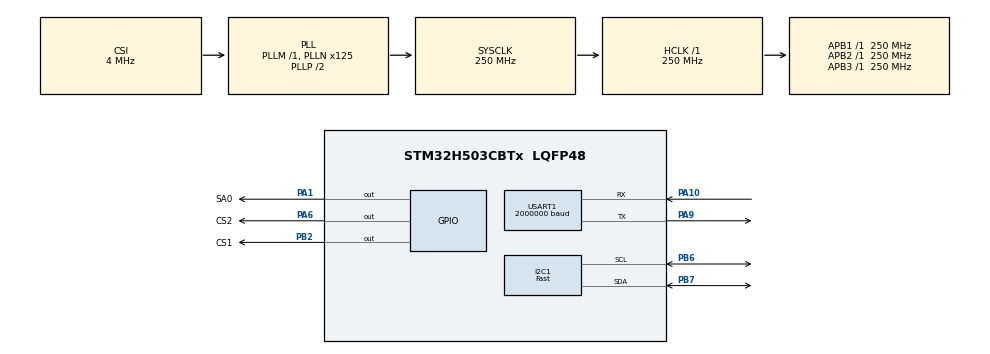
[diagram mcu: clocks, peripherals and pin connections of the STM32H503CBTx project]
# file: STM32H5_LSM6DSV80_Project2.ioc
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BOOTPATH.BootPathName=LEGACY
BOOTPATH.UserSelectedBootPath=LEGACY
I2C1.I2C_Speed_Mode=I2C_Fast
I2C1.Timing=0x10C043E5
Mcu.Family=STM32H5
Mcu.Name=STM32H503CBTx
Mcu.Package=LQFP48
NVIC.PriorityGroup=NVIC_PRIORITYGROUP_4
PA1.GPIO_Label=SA0
PA1.Signal=GPIO_Output
PA10.Mode=Asynchronous
PA10.Signal=USART1_RX
PA6.GPIO_Label=CS2
PA6.Signal=GPIO_Output
PA9.Mode=Asynchronous
PA9.Signal=USART1_TX
PB2.GPIO_Label=CS1
PB2.Signal=GPIO_Output
PB6.Mode=I2C
PB6.Signal=I2C1_SCL
PB7.Mode=I2C
PB7.Signal=I2C1_SDA
ProjectManager.HeapSize=0x2000
ProjectManager.StackSize=0x4000
ProjectManager.TargetToolchain=MDK-ARM V5.37
RCC.ADCFreq_Value=250000000
RCC.AHBFreq_Value=250000000
RCC.APB1Freq_Value=250000000
RCC.APB1TimFreq_Value=250000000
RCC.APB2Freq_Value=250000000
RCC.APB2TimFreq_Value=250000000
RCC.APB3Freq_Value=250000000
RCC.CSI_VALUE=4000000
RCC.CortexFreq_Value=250000000
RCC.EPOD_VALUE=4000000
RCC.HCLKFreq_Value=250000000
RCC.HSE_VALUE=25000000
RCC.HSI48_VALUE=48000000
RCC.HSI_VALUE=64000000
RCC.LSE_VALUE=32768
RCC.LSIRC_VALUE=32000
RCC.PLL2FRACN=0
RCC.PLLFRACN=0
RCC.PLLN=125
RCC.SYSCLKFreq_VALUE=250000000
RCC.SYSCLKSource=RCC_SYSCLKSOURCE_PLLCLK
RCC.USBFreq_Value=48000000
RCC.VCOOutputFreq_Value=500000000
USART1.BaudRate=2000000
USART1.VirtualMode-Asynchronous=VM_ASYNC
VP_BOOTPATH_VS_BOOTPATH.Mode=BP_Activate
VP_CORTEX_M33_NS_VS_Hclk.Mode=Hclk_Mode
VP_ICACHE_VS_ICACHE.Mode=DirectMappedCache
VP_MEMORYMAP_VS_MEMORYMAP.Mode=CurAppReg
VP_PWR_VS_LPOM.Mode=PowerOptimisation
VP_PWR_VS_SECSignals.Mode=Security/Privilege
board=custom

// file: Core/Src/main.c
/* USER CODE BEGIN Header */
/**
  ******************************************************************************
  * @file           : main.c
  * @brief          : Main program body
  ******************************************************************************
  * @attention
  *
  * Copyright (c) 2025 STMicroelectronics.
  * All rights reserved.
  *
  * This software is licensed under terms that can be found in the LICENSE file
  * in the root directory of this software component.
  * If no LICENSE file comes with this software, it is provided AS-IS.
  *
  ******************************************************************************
  */
/* USER CODE END Header */
#include "main.h"
#include "i2c.h"
#include "icache.h"
#include "usart.h"
#include "gpio.h"

/* USER CODE BEGIN Includes */
#include "stdio.h"

#include "lsm6dsv80x_reg.h"
#include <string.h>
/* USER CODE END Includes */

void SystemClock_Config(void);
/* USER CODE BEGIN PFP */
int fputc(int ch, FILE *f){
	HAL_UART_Transmit(&huart1 , (uint8_t *)&ch, 1, 0xFFFF);
	return ch;
}
/* USER CODE END PFP */

/* USER CODE BEGIN 0 */
#define SENSOR_BUS hi2c1

/* Private macro -------------------------------------------------------------*/
#define    BOOT_TIME            10 //ms
#define    CNT_FOR_OUTPUT       10

/* Private variables ---------------------------------------------------------*/
static int16_t data_raw_motion[3];
static int16_t data_raw_temperature;
static float_t acceleration_mg[3];
static float_t angular_rate_mdps[3];
static float_t temperature_degC;
static uint8_t whoamI;
static uint8_t tx_buffer[1000];

static lsm6dsv80x_filt_settling_mask_t filt_settling_mask;

/* Extern variables ----------------------------------------------------------*/

/* Private functions ---------------------------------------------------------*/

/*
 *   WARNING:
 *   Functions declare in this section are defined at the end of this file
 *   and are strictly related to the hardware platform used.
 *
 */
static int32_t platform_write(void *handle, uint8_t reg, const uint8_t *bufp,
                              uint16_t len);
static int32_t platform_read(void *handle, uint8_t reg, uint8_t *bufp,
                             uint16_t len);
static void tx_com( uint8_t *tx_buffer, uint16_t len );
static void platform_delay(uint32_t ms);
static void platform_init(void);

/* USER CODE END 0 */

int main(void)
{

  /* MCU Configuration--------------------------------------------------------*/

  /* Reset of all peripherals, Initializes the Flash interface and the Systick. */
  HAL_Init();

  /* Configure the system clock */
  SystemClock_Config();

  /* Initialize all configured peripherals */
  MX_GPIO_Init();
  MX_I2C1_Init();
  MX_ICACHE_Init();
  MX_USART1_UART_Init();
  /* USER CODE BEGIN 2 */
	printf("HELLO!\n");
  HAL_GPIO_WritePin(CS1_GPIO_Port, CS1_Pin, GPIO_PIN_SET);
  HAL_GPIO_WritePin(SA0_GPIO_Port, SA0_Pin, GPIO_PIN_RESET);
  HAL_GPIO_WritePin(CS2_GPIO_Port, CS2_Pin, GPIO_PIN_SET);
	HAL_Delay(100);

	lsm6dsv80x_reset_t rst;
  stmdev_ctx_t dev_ctx;
	// 累加器和计数器，用于计算均值
  double_t lowg_xl_sum[3], hg_xl_sum[3], gyro_sum[3], temp_sum;
  uint16_t lowg_xl_cnt = 0, hg_xl_cnt = 0, gyro_cnt = 0, temp_cnt = 0;

  /* Initialize mems driver interface */
  dev_ctx.write_reg = platform_write;
  dev_ctx.read_reg = platform_read;
  dev_ctx.mdelay = platform_delay;
  dev_ctx.handle = &SENSOR_BUS;
  /* Init test platform */
//  platform_init();
  /* Wait sensor boot time */
  platform_delay(BOOT_TIME);

  /* Check device ID */
  lsm6dsv80x_device_id_get(&dev_ctx, &whoamI);
	printf("LSM6DSV80X_ID=0x%x,whoamI=0x%x",LSM6DSV80X_ID,whoamI);
  if (whoamI != LSM6DSV80X_ID)
    while (1);

  /* Restore default configuration */
  lsm6dsv80x_reset_set(&dev_ctx, LSM6DSV80X_RESTORE_CTRL_REGS);
  do {
    lsm6dsv80x_reset_get(&dev_ctx, &rst);
  } while (rst != LSM6DSV80X_READY);

  /* Enable Block Data Update */
  lsm6dsv80x_block_data_update_set(&dev_ctx, PROPERTY_ENABLE);

  /* Set Output Data Rate.
   * Selected data rate have to be equal or greater with respect
   * with MLC data rate.
   */
	// 设置量程与输出数据速率
  lsm6dsv80x_xl_data_rate_set(&dev_ctx, LSM6DSV80X_ODR_AT_480Hz);
  lsm6dsv80x_hg_xl_data_rate_set(&dev_ctx, LSM6DSV80X_HG_XL_ODR_AT_480Hz, 1);
  lsm6dsv80x_gy_data_rate_set(&dev_ctx, LSM6DSV80X_ODR_AT_480Hz);

  /* Set full scale */
  lsm6dsv80x_xl_full_scale_set(&dev_ctx, LSM6DSV80X_16g);
  lsm6dsv80x_hg_xl_full_scale_set(&dev_ctx, LSM6DSV80X_80g);
  lsm6dsv80x_gy_full_scale_set(&dev_ctx, LSM6DSV80X_4000dps);

  /* Configure filtering chain */
//  filt_settling_mask.drdy = PROPERTY_ENABLE;
//  filt_settling_mask.irq_xl = PROPERTY_ENABLE;
//  filt_settling_mask.irq_g = PROPERTY_ENABLE;
//  lsm6dsv80x_filt_settling_mask_set(&dev_ctx, filt_settling_mask);
//  lsm6dsv80x_filt_gy_lp1_set(&dev_ctx, PROPERTY_ENABLE);
//  lsm6dsv80x_filt_gy_lp1_bandwidth_set(&dev_ctx, LSM6DSV80X_GY_ULTRA_LIGHT);
//  lsm6dsv80x_filt_xl_lp2_set(&dev_ctx, PROPERTY_ENABLE);
//  lsm6dsv80x_filt_xl_lp2_bandwidth_set(&dev_ctx, LSM6DSV80X_XL_STRONG);

  lowg_xl_sum[0] = lowg_xl_sum[1] = lowg_xl_sum[2] = 0.0;
  hg_xl_sum[0] = hg_xl_sum[1] = hg_xl_sum[2] = 0.0;
  gyro_sum[0] = gyro_sum[1] = gyro_sum[2] = 0.0;
  temp_sum = 0.0;

	int16_t	acc_int16[3]	={0,0,0};
	int16_t	gyr_int16[3]		={0,0,0};
	float acc[3] = {0};
	float gyr[3] = {0};
	uint8_t data[21]={0};
	data[0]=0xAB;//帧头
	data[1]=0xFD;//源地址
	data[2]=0xFE;//目标地址
	data[3]=0x01;//功能码ID
	data[4]=0x0D;//数据长度LEN
	data[5]=0x00;//数据长度LEN 13

	uint8_t sumcheck = 0;
	uint8_t addcheck = 0;

	int16_t	h_acc_int16[3]	={0,0,0};
	float h_acc[3] = {0};
	uint8_t h_data[17]={0};
	h_data[0]=0xAB;//帧头
	h_data[1]=0xFD;//源地址
	h_data[2]=0xFE;//目标地址
	h_data[3]=0x02;//功能码ID
	h_data[4]=0x09;//数据长度LEN
	h_data[5]=0x00;//数据长度LEN 13

	uint8_t h_sumcheck = 0;
	uint8_t h_addcheck = 0;

  /* USER CODE END 2 */

  /* Infinite loop */
  /* USER CODE BEGIN WHILE */
  while (1)
  {
    lsm6dsv80x_data_ready_t drdy;

    /* Read output only if new xl value is available */
    lsm6dsv80x_flag_data_ready_get(&dev_ctx, &drdy);
		// 低g加速度数据
    if (drdy.drdy_xl) {
      /* Read acceleration field data */
      memset(data_raw_motion, 0x00, 3 * sizeof(int16_t));
      lsm6dsv80x_acceleration_raw_get(&dev_ctx, data_raw_motion);
      acceleration_mg[0] = lsm6dsv80x_from_fs16_to_mg(data_raw_motion[0]);
      acceleration_mg[1] = lsm6dsv80x_from_fs16_to_mg(data_raw_motion[1]);
      acceleration_mg[2] = lsm6dsv80x_from_fs16_to_mg(data_raw_motion[2]);

      lowg_xl_sum[0] += acceleration_mg[0];
      lowg_xl_sum[1] += acceleration_mg[1];
      lowg_xl_sum[2] += acceleration_mg[2];
      lowg_xl_cnt++;
    }
		// 高g加速度数据
    if (drdy.drdy_hgxl) {
      /* Read acceleration field data */
      memset(data_raw_motion, 0x00, 3 * sizeof(int16_t));
      lsm6dsv80x_hg_acceleration_raw_get(&dev_ctx, data_raw_motion);
      acceleration_mg[0] = lsm6dsv80x_from_fs80_to_mg(data_raw_motion[0]);
      acceleration_mg[1] = lsm6dsv80x_from_fs80_to_mg(data_raw_motion[1]);
      acceleration_mg[2] = lsm6dsv80x_from_fs80_to_mg(data_raw_motion[2]);

      hg_xl_sum[0] += acceleration_mg[0];
      hg_xl_sum[1] += acceleration_mg[1];
      hg_xl_sum[2] += acceleration_mg[2];
      hg_xl_cnt++;
    }
		// 陀螺仪数据
    /* Read output only if new xl value is available */
    if (drdy.drdy_gy) {
      /* Read angular rate field data */
      memset(data_raw_motion, 0x00, 3 * sizeof(int16_t));
      lsm6dsv80x_angular_rate_raw_get(&dev_ctx, data_raw_motion);
      angular_rate_mdps[0] = lsm6dsv80x_from_fs4000_to_mdps(data_raw_motion[0]);
      angular_rate_mdps[1] = lsm6dsv80x_from_fs4000_to_mdps(data_raw_motion[1]);
      angular_rate_mdps[2] = lsm6dsv80x_from_fs4000_to_mdps(data_raw_motion[2]);

      gyro_sum[0] += angular_rate_mdps[0];
      gyro_sum[1] += angular_rate_mdps[1];
      gyro_sum[2] += angular_rate_mdps[2];
      gyro_cnt++;
    }

    if (drdy.drdy_temp) {
      /* Read temperature data */
      memset(&data_raw_temperature, 0x00, sizeof(int16_t));
      lsm6dsv80x_temperature_raw_get(&dev_ctx, &data_raw_temperature);
      temperature_degC = lsm6dsv80x_from_lsb_to_celsius(data_raw_temperature);
      temp_sum += temperature_degC;
      temp_cnt++;
    }

    if (lowg_xl_cnt >= CNT_FOR_OUTPUT) {
      /* print media low-g xl data */
      acceleration_mg[0] = lowg_xl_sum[0] / lowg_xl_cnt;
      acceleration_mg[1] = lowg_xl_sum[1] / lowg_xl_cnt;
      acceleration_mg[2] = lowg_xl_sum[2] / lowg_xl_cnt;

			acc_int16[0]=(int16_t)(acceleration_mg[0]);
			acc_int16[1]=(int16_t)(acceleration_mg[1]);
			acc_int16[2]=(int16_t)(acceleration_mg[2]);

//      printf("lg xl (media of %d samples) [mg]:%4.2f\t%4.2f\t%4.2f\r\n",
//              lowg_xl_cnt, acceleration_mg[0], acceleration_mg[1], acceleration_mg[2]);

      lowg_xl_sum[0] = lowg_xl_sum[1] = lowg_xl_sum[2] = 0.0;
      lowg_xl_cnt = 0;

      /* print media high-g xl data */
      acceleration_mg[0] = hg_xl_sum[0] / hg_xl_cnt;
      acceleration_mg[1] = hg_xl_sum[1] / hg_xl_cnt;
      acceleration_mg[2] = hg_xl_sum[2] / hg_xl_cnt;

			h_acc_int16[0]=(int16_t)(acceleration_mg[0]);
			h_acc_int16[1]=(int16_t)(acceleration_mg[1]);
			h_acc_int16[2]=(int16_t)(acceleration_mg[2]);

//      printf("hg xl (media of %d samples) [mg]:%4.2f\t%4.2f\t%4.2f\r\n",
//              hg_xl_cnt, acceleration_mg[0], acceleration_mg[1], acceleration_mg[2]);

      hg_xl_sum[0] = hg_xl_sum[1] = hg_xl_sum[2] = 0.0;
      hg_xl_cnt = 0;

      /* print media gyro data */
      angular_rate_mdps[0] = gyro_sum[0] / gyro_cnt;
      angular_rate_mdps[1] = gyro_sum[1] / gyro_cnt;
      angular_rate_mdps[2] = gyro_sum[2] / gyro_cnt;

			gyr_int16[0]=(int16_t)(angular_rate_mdps[0]/10);
			gyr_int16[1]=(int16_t)(angular_rate_mdps[1]/10);
			gyr_int16[2]=(int16_t)(angular_rate_mdps[2]/10);

//      printf("gyro (media of %d samples) [mdps]:%4.2f\t%4.2f\t%4.2f\r\n",
//              gyro_cnt, angular_rate_mdps[0], angular_rate_mdps[1], angular_rate_mdps[2]);

      gyro_sum[0] = gyro_sum[1] = gyro_sum[2] = 0.0;
      gyro_cnt = 0;

      /* print media temperature data */
      temperature_degC = temp_sum / temp_cnt;
//      printf("Temperature (media of %d samples) [degC]:%6.2f\r\n\r\n",
//              temp_cnt, temperature_degC);

      temp_cnt = 0;
      temp_sum = 0.0;

		data[7]=acc_int16[0]>>8;//ACC_X
		data[6]=acc_int16[0];
		data[9]=acc_int16[1]>>8;//ACC_Y
		data[8]=acc_int16[1];
		data[11]=acc_int16[2]>>8;//ACC_Z
		data[10]=acc_int16[2];

		data[13]=gyr_int16[0]>>8;//GYR_X
		data[12]=gyr_int16[0];
		data[15]=gyr_int16[1]>>8;//GYR_Y
		data[14]=gyr_int16[1];
		data[17]=gyr_int16[2]>>8;//GYR_Z
		data[16]=gyr_int16[2];

		data[18]=0;

		sumcheck = 0;
		addcheck = 0;
		for(uint16_t i=0; i < 19; i++)
		{
			sumcheck += data[i]; //从帧头开始，对每一字节进行求和，直到 DATA 区结束
			addcheck += sumcheck; //每一字节的求和操作，进行一次 sumcheck 的累加
		}
		data[19]=sumcheck;
		data[20]=addcheck;

		HAL_UART_Transmit(&huart1 , (uint8_t *)&data, 21, 0xFFFF);

		h_data[7]=h_acc_int16[0]>>8;//ACC_X
		h_data[6]=h_acc_int16[0];
		h_data[9]=h_acc_int16[1]>>8;//ACC_Y
		h_data[8]=h_acc_int16[1];
		h_data[11]=h_acc_int16[2]>>8;//ACC_Z
		h_data[10]=h_acc_int16[2];

		h_data[12]=0;
		h_data[13]=0;
		h_data[14]=0;

		h_sumcheck = 0;
		h_addcheck = 0;
		for(uint16_t i=0; i < 15; i++)
		{
			h_sumcheck += h_data[i]; //从帧头开始，对每一字节进行求和，直到 DATA 区结束
			h_addcheck += h_sumcheck; //每一字节的求和操作，进行一次 sumcheck 的累加
		}
		h_data[15]=h_sumcheck;
		h_data[16]=h_addcheck;

		HAL_UART_Transmit(&huart1 , (uint8_t *)&h_data, 17, 0xFFFF);

   }
    /* USER CODE END WHILE */

  }
}

void SystemClock_Config(void)
{
  RCC_OscInitTypeDef RCC_OscInitStruct = {0};
  RCC_ClkInitTypeDef RCC_ClkInitStruct = {0};

  /** Configure the main internal regulator output voltage
  */
  __HAL_PWR_VOLTAGESCALING_CONFIG(PWR_REGULATOR_VOLTAGE_SCALE0);

  while(!__HAL_PWR_GET_FLAG(PWR_FLAG_VOSRDY)) {}

  /** Initializes the RCC Oscillators according to the specified parameters
  * in the RCC_OscInitTypeDef structure.
  */
  RCC_OscInitStruct.OscillatorType = RCC_OSCILLATORTYPE_CSI;
  RCC_OscInitStruct.CSIState = RCC_CSI_ON;
  RCC_OscInitStruct.CSICalibrationValue = RCC_CSICALIBRATION_DEFAULT;
  RCC_OscInitStruct.PLL.PLLState = RCC_PLL_ON;
  RCC_OscInitStruct.PLL.PLLSource = RCC_PLL1_SOURCE_CSI;
  RCC_OscInitStruct.PLL.PLLM = 1;
  RCC_OscInitStruct.PLL.PLLN = 125;
  RCC_OscInitStruct.PLL.PLLP = 2;
  RCC_OscInitStruct.PLL.PLLQ = 2;
  RCC_OscInitStruct.PLL.PLLR = 2;
  RCC_OscInitStruct.PLL.PLLRGE = RCC_PLL1_VCIRANGE_2;
  RCC_OscInitStruct.PLL.PLLVCOSEL = RCC_PLL1_VCORANGE_WIDE;
  RCC_OscInitStruct.PLL.PLLFRACN = 0;
  if (HAL_RCC_OscConfig(&RCC_OscInitStruct) != HAL_OK)
  {
    Error_Handler();
  }

  /** Initializes the CPU, AHB and APB buses clocks
  */
  RCC_ClkInitStruct.ClockType = RCC_CLOCKTYPE_HCLK|RCC_CLOCKTYPE_SYSCLK
                              |RCC_CLOCKTYPE_PCLK1|RCC_CLOCKTYPE_PCLK2
                              |RCC_CLOCKTYPE_PCLK3;
  RCC_ClkInitStruct.SYSCLKSource = RCC_SYSCLKSOURCE_PLLCLK;
  RCC_ClkInitStruct.AHBCLKDivider = RCC_SYSCLK_DIV1;
  RCC_ClkInitStruct.APB1CLKDivider = RCC_HCLK_DIV1;
  RCC_ClkInitStruct.APB2CLKDivider = RCC_HCLK_DIV1;
  RCC_ClkInitStruct.APB3CLKDivider = RCC_HCLK_DIV1;

  if (HAL_RCC_ClockConfig(&RCC_ClkInitStruct, FLASH_LATENCY_5) != HAL_OK)
  {
    Error_Handler();
  }

  /** Configure the programming delay
  */
  __HAL_FLASH_SET_PROGRAM_DELAY(FLASH_PROGRAMMING_DELAY_2);
}

/* USER CODE BEGIN 4 */
/*
 * @brief  Write generic device register (platform dependent)
 *
 * @param  handle    customizable argument. In this examples is used in
 *                   order to select the correct sensor bus handler.
 * @param  reg       register to write
 * @param  bufp      pointer to data to write in register reg
 * @param  len       number of consecutive register to write
 *
 */
static int32_t platform_write(void *handle, uint8_t reg, const uint8_t *bufp,
                              uint16_t len)
{
  HAL_I2C_Mem_Write(handle, LSM6DSV80X_I2C_ADD_L, reg,
                    I2C_MEMADD_SIZE_8BIT, (uint8_t*) bufp, len, 1000);
  return 0;
}

/*
 * @brief  Read generic device register (platform dependent)
 *
 * @param  handle    customizable argument. In this examples is used in
 *                   order to select the correct sensor bus handler.
 * @param  reg       register to read
 * @param  bufp      pointer to buffer that store the data read
 * @param  len       number of consecutive register to read
 *
 */
static int32_t platform_read(void *handle, uint8_t reg, uint8_t *bufp,
                             uint16_t len)
{
  HAL_I2C_Mem_Read(handle, LSM6DSV80X_I2C_ADD_L, reg,
                   I2C_MEMADD_SIZE_8BIT, bufp, len, 1000);
  return 0;
}

/*
 * @brief  platform specific delay (platform dependent)
 *
 * @param  ms        delay in ms
 *
 */
static void platform_delay(uint32_t ms)
{
  HAL_Delay(ms);
}
/* USER CODE END 4 */

void Error_Handler(void)
{
  __disable_irq();
  while (1)
  {
  }
}
